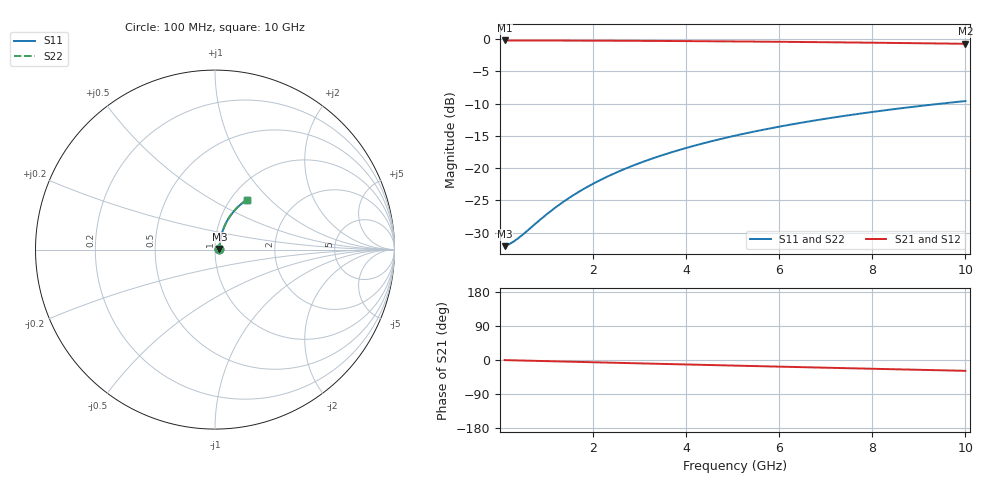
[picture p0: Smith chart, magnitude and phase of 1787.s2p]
# Hz S RI R 50.00
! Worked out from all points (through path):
!   100 points, 100 MHz to 10 GHz, reference 50 ohm
!   highest |S21| = -0.22 dB at 100 MHz (marker M1); lowest = -0.7 dB at 10 GHz (marker M2)
!   group delay of S21, straight-line fit = 7.94 ps
!   lowest |S11| = -32.1 dB at 100 MHz (marker M3), VSWR 1.05, Z = 52.5 + j0.363 ohm
!   |S11| at or under -10 dB: start of sweep to 9.48 GHz
!   |S22| runs from -32.1 to -9.6 dB; largest |S21 - S12| = 0
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1e8  0.0247 0.00345  0.9753 -0.00505  0.9753 -0.00505  0.0247 0.00345
2e8  0.0249 0.0069  0.9751 -0.0101  0.9751 -0.0101  0.0249 0.0069
3e8  0.0251 0.0103  0.9749 -0.0151  0.9749 -0.0151  0.0251 0.0103
5e8  0.0255 0.0172  0.9744 -0.0252  0.9744 -0.0252  0.0255 0.0172
9e8  0.0268 0.031  0.9731 -0.0453  0.9731 -0.0453  0.0268 0.031
1.2e9  0.028 0.0412  0.9718 -0.0603  0.9718 -0.0603  0.028 0.0412
1.5e9  0.0296 0.0514  0.9701 -0.0753  0.9701 -0.0753  0.0296 0.0514
1.8e9  0.0314 0.0615  0.9681 -0.0902  0.9681 -0.0902  0.0314 0.0615
2.1e9  0.0336 0.0716  0.9658 -0.1051  0.9658 -0.1051  0.0336 0.0716
2.5e9  0.0369 0.0849  0.9622 -0.1247  0.9622 -0.1247  0.0369 0.0849
2.9e9  0.0408 0.0979  0.9581 -0.1442  0.9581 -0.1442  0.0408 0.0979
3.4e9  0.0463 0.114  0.9521 -0.1683  0.9521 -0.1683  0.0463 0.114
3.8e9  0.0513 0.1266  0.9467 -0.1873  0.9467 -0.1873  0.0513 0.1266
4.2e9  0.0568 0.139  0.9408 -0.206  0.9408 -0.206  0.0568 0.139
4.6e9  0.0628 0.151  0.9344 -0.2245  0.9344 -0.2245  0.0628 0.151
5.1e9  0.0709 0.1657  0.9257 -0.2471  0.9257 -0.2471  0.0709 0.1657
5.9e9  0.0852 0.188  0.9102 -0.2824  0.9102 -0.2824  0.0852 0.188
6.7e9  0.101 0.209  0.893 -0.3162  0.893 -0.3162  0.101 0.209
7.5e9  0.1183 0.2284  0.8743 -0.3485  0.8743 -0.3485  0.1183 0.2284
8.4e9  0.1392 0.2482  0.8515 -0.3829  0.8515 -0.3829  0.1392 0.2482
9.2e9  0.1588 0.2641  0.83 -0.4118  0.83 -0.4118  0.1588 0.2641
1e10  0.1793 0.2782  0.8074 -0.4389  0.8074 -0.4389  0.1793 0.2782
